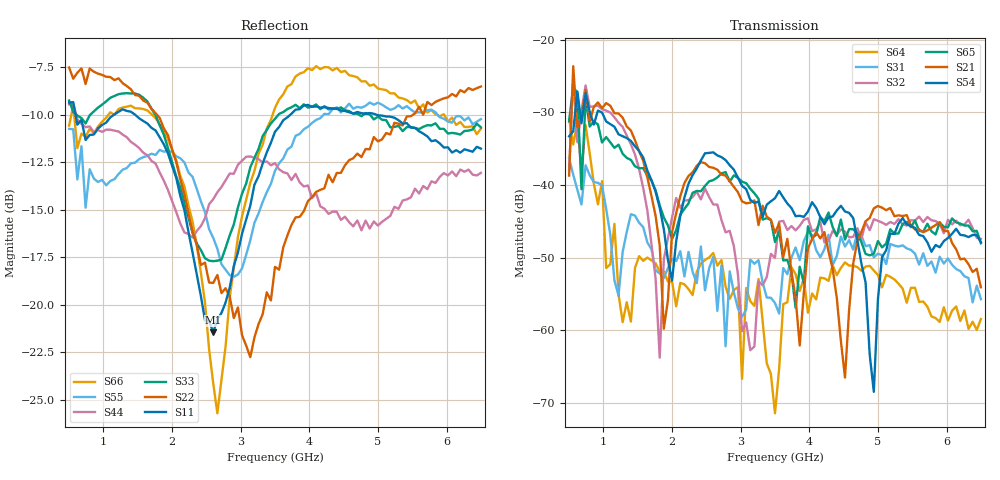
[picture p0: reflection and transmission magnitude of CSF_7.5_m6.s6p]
!Keysight Technologies,M9804A,MY58100912,A.14.10.03
!Date: Thursday, April 27, 2023 10:28:33
!Correction: S11(C  6-Port  )
!S12(C  6-Port  )
!S13(C  6-Port  )
!S14(C  6-Port  )
!S15(C  6-Port  )
!S16(C  6-Port  )
!S21(C  6-Port  )
!S22(C  6-Port  )
!S23(C  6-Port  )
!S24(C  6-Port  )
!S25(C  6-Port  )
!S26(C  6-Port  )
!S31(C  6-Port  )
!S32(C  6-Port  )
!S33(C  6-Port  )
!S34(C  6-Port  )
!S35(C  6-Port  )
!S36(C  6-Port  )
!S41(C  6-Port  )
!S42(C  6-Port  )
!S43(C  6-Port  )
!S44(C  6-Port  )
!S45(C  6-Port  )
!S46(C  6-Port  )
!S51(C  6-Port  )
!S52(C  6-Port  )
!S53(C  6-Port  )
!S54(C  6-Port  )
!S55(C  6-Port  )
!S56(C  6-Port  )
!S61(C  6-Port  )
!S62(C  6-Port  )
!S63(C  6-Port  )
!S64(C  6-Port  )
!S65(C  6-Port  )
!S66(C  6-Port  )
!S6P File: Measurement: :
# Hz S  RI  R 50
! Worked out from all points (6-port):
!   101 points, 500 MHz to 6.5 GHz, reference 50 ohm
!   strongest paths, dB at 500 MHz, 2 GHz, 3.5 GHz, 5 GHz, 6.5 GHz:
!     S54: -33.3, -53.2, -41.8, -55.7, -47.9
!     S21: -38.7, -46.5, -46.6, -42.9, -54.1
!     S65: -31.2, -47.4, -47.9, -47.7, -48.0
!     S32: -38.0, -44.5, -50.0, -44.9, -47.4
!     S31: -36.4, -50.2, -56.3, -49.5, -55.7
!     S64: -30.9, -53.3, -71.5, -52.4, -58.5
!   lowest |S11| = -21.5 dB at 2.6 GHz (marker M1), VSWR 1.18, Z = 42.5 + j2.28 ohm
!   |S11| at or under -10 dB: 593.9 MHz to 1.151 GHz (556.7 MHz wide, 63.8 % of centre); 1.464 GHz to 3.721 GHz (2.257 GHz wide, 87 % of centre); 4.986 GHz to end of sweep
